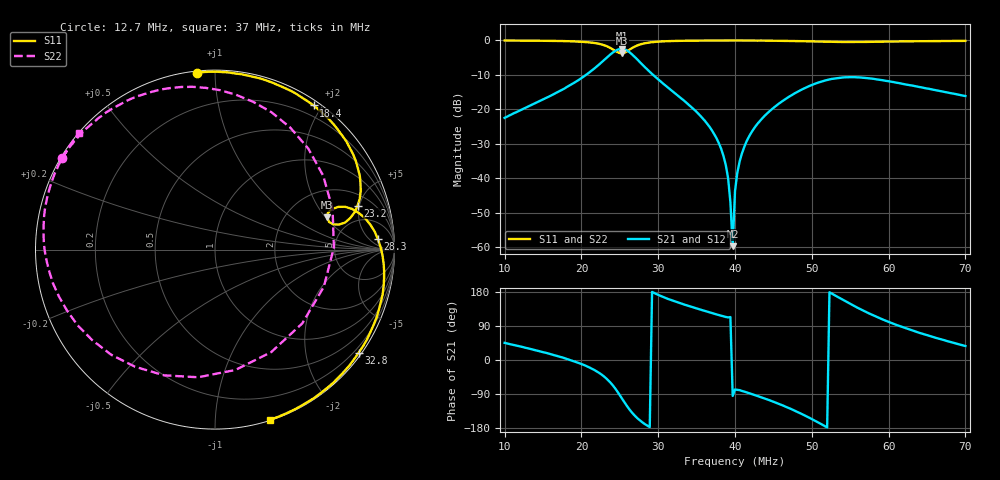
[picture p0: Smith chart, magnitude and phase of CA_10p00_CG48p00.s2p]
#  HZ  S  RI  R  50.00
! Rohde & Schwarz ZVT8 8Ports - Version 4.11 - 1300.0000k08 SN: 100242
! Date: 2026-07-31 14:14:40
! Measurements: S11 S21 S12 S22
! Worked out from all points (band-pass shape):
!   201 points, 10 MHz to 70 MHz, reference 50 ohm
!   highest |S21| = -2.43 dB at 25.3 MHz (marker M1); lowest = -59.7 dB at 39.7 MHz (marker M2)
!   |S21| within 3 dB of the highest: 23.09 MHz to 27.23 MHz (4.144 MHz wide, 16.5 % of centre)
!   lowest |S11| = -3.7 dB at 25.3 MHz (marker M3), VSWR 4.71, Z = 167 + j103 ohm
!   |S11| at or under -10 dB: nowhere
!   |S22| runs from -3.9 to 0.0 dB; largest |S21 - S12| = 0.0029
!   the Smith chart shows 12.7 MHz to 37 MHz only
!   S11 on the Smith chart (normalised r, x): 12.7 MHz: 0.01, +0.90; 18.4 MHz: 0.06, +1.89; 23.2 MHz: 3.01, +4.80; 28.3 MHz: 15, +10; 32.8 MHz: 0.08, -3.11; 37 MHz: 0.01, -1.37
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1e7  -0.4083 0.9093  0.053 0.0534  0.0528 0.0535  -0.9154 0.3941
1.27e7  -0.1022 0.986  0.0891 0.0563  0.0889 0.0561  -0.8531 0.5096
1.84e7  0.5492 0.8034  0.2201 0.00295  0.2195 0.00342  -0.5816 0.7796
2.02e7  0.7082 0.6363  0.2871 -0.0618  0.2867 -0.0616  -0.3922 0.8669
2.32e7  0.7948 0.2452  0.3677 -0.4073  0.3671 -0.4083  0.3153 0.7651
2.53e7  0.6243 0.1794  -0.1599 -0.7385  -0.1575 -0.7381  0.4861 -0.4113
2.65e7  0.7246 0.2386  -0.4656 -0.4395  -0.467 -0.4403  -0.2839 -0.7004
2.83e7  0.9079 0.0571  -0.3992 -0.0726  -0.4 -0.0728  -0.8689 -0.2622
3.01e7  0.9389 -0.2074  -0.2628 0.0422  -0.2627 0.0414  -0.9556 0.0996
3.28e7  0.8011 -0.5741  -0.1307 0.0742  -0.1305 0.0745  -0.9005 0.4038
3.7e7  0.3066 -0.9479  -0.0276 0.041  -0.0276 0.0411  -0.7551 0.6517
3.88e7  0.0227 -0.9955  -0.00622 0.0143  -0.00622 0.0142  -0.6905 0.7219
3.97e7  -0.1285 -0.9896  -8.63e-05 -0.00103  -1.82e-05 -0.00107  -0.6561 0.751
4e7  -0.18 -0.9799  0.00136 -0.00634  0.00133 -0.00619  -0.6462 0.7615
4.18e7  -0.4832 -0.8704  0.00181 -0.0398  0.00186 -0.0397  -0.58 0.8107
4.6e7  -0.9748 -0.159  -0.0598 -0.1128  -0.0602 -0.1124  -0.4208 0.8961
5.02e7  -0.4635 0.8459  -0.2134 -0.0862  -0.2135 -0.0864  -0.263 0.9343
5.26e7  0.3318 0.8909  -0.2752 0.0229  -0.2751 0.0229  -0.1833 0.9406
5.53e7  0.921 0.2186  -0.2398 0.1683  -0.2397 0.1683  -0.1034 0.9473
6.01e7  0.3643 -0.889  -0.0435 0.2507  -0.0432 0.2502  0.0473 0.9632
6.4e7  -0.4173 -0.8789  0.0661 0.2003  0.066 0.2005  0.1863 0.9573
7e7  -0.9751 -0.1337  0.1247 0.0934  0.1249 0.0931  0.4062 0.8977
